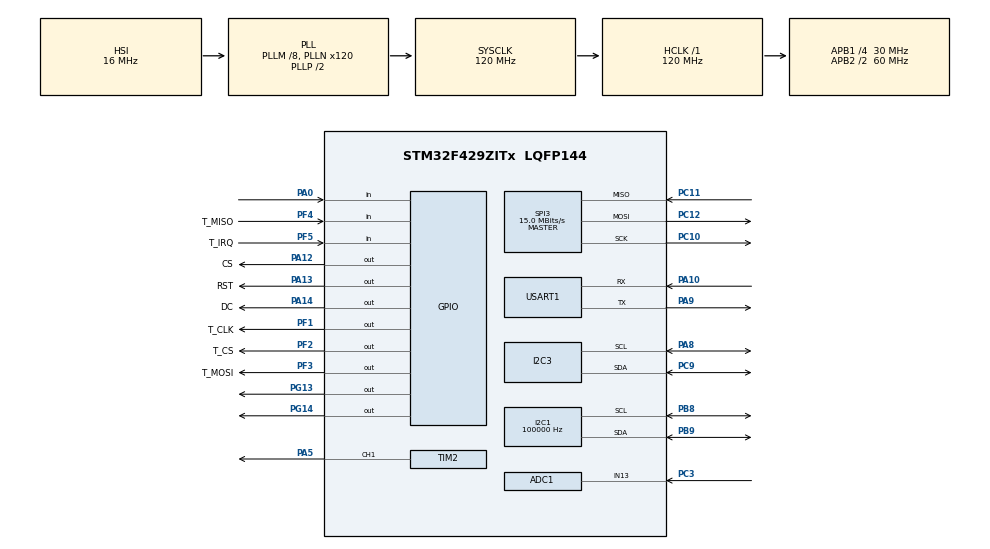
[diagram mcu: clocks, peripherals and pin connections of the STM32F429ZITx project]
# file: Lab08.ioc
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ADC1.Channel-0\#ChannelRegularConversion=ADC_CHANNEL_13
ADC1.ContinuousConvMode=ENABLE
ADC1.EOCSelection=ADC_EOC_SEQ_CONV
ADC1.NbrOfConversionFlag=1
ADC1.Rank-0\#ChannelRegularConversion=1
ADC1.SamplingTime-0\#ChannelRegularConversion=ADC_SAMPLETIME_3CYCLES
ADC1.master=1
I2C1.ClockSpeed=100000
Mcu.Family=STM32F4
Mcu.Name=STM32F429ZITx
Mcu.Package=LQFP144
NVIC.PriorityGroup=NVIC_PRIORITYGROUP_4
PA0/WKUP.Signal=GPIO_Input
PA10.Mode=Asynchronous
PA10.Signal=USART1_RX
PA12.GPIO_Label=CS
PA12.GPIO_Speed=GPIO_SPEED_FREQ_VERY_HIGH
PA12.Signal=GPIO_Output
PA13.GPIO_Label=RST
PA13.GPIO_Speed=GPIO_SPEED_FREQ_VERY_HIGH
PA13.Signal=GPIO_Output
PA14.GPIO_Label=DC
PA14.GPIO_Speed=GPIO_SPEED_FREQ_VERY_HIGH
PA14.Signal=GPIO_Output
PA5.Signal=S_TIM2_CH1_ETR
PA8.Mode=I2C
PA8.Signal=I2C3_SCL
PA9.Mode=Asynchronous
PA9.Signal=USART1_TX
PB8.Mode=I2C
PB8.Signal=I2C1_SCL
PB9.Mode=I2C
PB9.Signal=I2C1_SDA
PC10.Mode=Full_Duplex_Master
PC10.Signal=SPI3_SCK
PC11.Mode=Full_Duplex_Master
PC11.Signal=SPI3_MISO
PC12.Mode=Full_Duplex_Master
PC12.Signal=SPI3_MOSI
PC3.Signal=ADCx_IN13
PC9.Mode=I2C
PC9.Signal=I2C3_SDA
PF1.GPIO_Label=T_CLK
PF1.GPIO_Speed=GPIO_SPEED_FREQ_VERY_HIGH
PF1.Signal=GPIO_Output
PF2.GPIO_Label=T_CS
PF2.GPIO_Speed=GPIO_SPEED_FREQ_VERY_HIGH
PF2.Signal=GPIO_Output
PF3.GPIO_Label=T_MOSI
PF3.GPIO_Speed=GPIO_SPEED_FREQ_VERY_HIGH
PF3.Signal=GPIO_Output
PF4.GPIO_Label=T_MISO
PF4.Signal=GPIO_Input
PF5.GPIO_Label=T_IRQ
PF5.Signal=GPIO_Input
PG13.Signal=GPIO_Output
PG14.Signal=GPIO_Output
ProjectManager.HeapSize=0x200
ProjectManager.StackSize=0x400
ProjectManager.TargetToolchain=STM32CubeIDE
RCC.48MHZClocksFreq_Value=48000000
RCC.AHBFreq_Value=120000000
RCC.APB1CLKDivider=RCC_HCLK_DIV4
RCC.APB1Freq_Value=30000000
RCC.APB1TimFreq_Value=60000000
RCC.APB2CLKDivider=RCC_HCLK_DIV2
RCC.APB2Freq_Value=60000000
RCC.APB2TimFreq_Value=120000000
RCC.CortexFreq_Value=120000000
RCC.HCLKFreq_Value=120000000
RCC.HSE_VALUE=25000000
RCC.HSI_VALUE=16000000
RCC.LSE_VALUE=32768
RCC.PLLM=8
RCC.PLLN=120
RCC.PLLQ=5
RCC.SYSCLKFreq_VALUE=120000000
RCC.SYSCLKSource=RCC_SYSCLKSOURCE_PLLCLK
RCC.VCOOutputFreq_Value=240000000
SH.ADCx_IN13.0=ADC1_IN13,IN13
SH.S_TIM2_CH1_ETR.0=TIM2_CH1,PWM Generation1 CH1
SPI3.CalculateBaudRate=15.0 MBits/s
SPI3.Direction=SPI_DIRECTION_2LINES
SPI3.Mode=SPI_MODE_MASTER
SPI3.VirtualType=VM_MASTER
TIM1.ClockDivision=TIM_CLOCKDIVISION_DIV2
TIM1.Period=12-1
TIM1.Prescaler=10000-1
TIM2.Channel-PWM\ Generation1\ CH1=TIM_CHANNEL_1
TIM2.Period=100-1
TIM2.Prescaler=60-1
TIM2.Pulse-PWM\ Generation1\ CH1=(10000-1)*0.25
USART1.VirtualMode=VM_ASYNC
VP_RNG_VS_RNG.Mode=RNG_Activate
VP_TIM1_VS_ClockSourceINT.Mode=Internal
board=custom

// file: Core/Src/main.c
/* USER CODE BEGIN Header */
/**
  ******************************************************************************
  * @file           : main.c
  * @brief          : Main program body
  ******************************************************************************
  * @attention
  *
  * <h2><center>&copy; Copyright (c) 2021 STMicroelectronics.
  * All rights reserved.</center></h2>
  *
  * This software component is licensed by ST under BSD 3-Clause license,
  * the "License"; You may not use this file except in compliance with the
  * License. You may obtain a copy of the License at:
  *                        opensource.org/licenses/BSD-3-Clause
  *
  ******************************************************************************
  */
/* USER CODE END Header */
#include "main.h"
#include "adc.h"
#include "i2c.h"
#include "rng.h"
#include "spi.h"
#include "tim.h"
#include "usart.h"
#include "gpio.h"

/* USER CODE BEGIN Includes */
#include "stdio.h"
#include "ILI9341_Touchscreen.h"

#include "ILI9341_STM32_Driver.h"
#include "ILI9341_GFX.h"

#include "snow_tiger.h"
#include "pop.h"
#include "string.h"

#include "am2320.h"

/* USER CODE END Includes */

void SystemClock_Config(void);

/* USER CODE BEGIN 0 */
	uint32_t color = 0x0000;
	uint32_t redValue = 0x0000;
	uint32_t greenValue = 0x0000;
	uint32_t blueValue = 0x0000;

	float redRatio = 0.0;
	float greenRatio = 0.0;
	float blueRatio = 0.0;

	float humid = 30.0, temp=40.0;
	uint8_t step = 0;
	HAL_StatusTypeDef status;

	uint16_t CRC16_2(uint8_t *, uint8_t );

	uint16_t CRC16_2(uint8_t *ptr, uint8_t length){

		uint16_t crc = 0xFFFF;
		uint8_t s = 0x00;

		while(length--){
			crc ^= *ptr++;
			for(s = 0; s< 8; s++){
				if((crc & 0x01) != 0){
					crc >>=1 ;
					crc ^= 0xA001;
				}else crc >>=1;
			}
		}
		return crc;
	}

	I2C_HandleTypeDef hi2c1;
	I2C_HandleTypeDef hi2c3;

	//ADC

	volatile uint32_t adc_val = 0;

	void displayHEX(uint32_t value){

		char hexString[100];

		sprintf(hexString,"ADC1_CH13 0x%08X Vin = %.2f V RawValue = %d\r\n", value, (float)value*3.3/4096.0, value);
		HAL_UART_Transmit(&huart1, (uint8_t*) hexString, strlen(hexString), 100);
		HAL_Delay(50);
	}

/* USER CODE END 0 */

int main(void)
{

  /* MCU Configuration--------------------------------------------------------*/

  /* Reset of all peripherals, Initializes the Flash interface and the Systick. */
  HAL_Init();

  /* USER CODE BEGIN Init */
  Am2320_HandleTypeDef Am2320_;
  Am2320_ = am2320_Init(&hi2c3, AM2320_ADDRESS);

  /* USER CODE END Init */

  /* Configure the system clock */
  SystemClock_Config();

  /* Initialize all configured peripherals */
  MX_TIM1_Init();
  MX_GPIO_Init();
  MX_RNG_Init();
  MX_SPI3_Init();
  MX_USART1_UART_Init();
  MX_I2C1_Init();
  MX_ADC1_Init();
  MX_TIM2_Init();
  MX_I2C3_Init();
  /* USER CODE BEGIN 2 */

  ILI9341_Init();//initial driver setup to drive ili9341

  uint8_t mode = 1;

  uint32_t now = 0;
  uint32_t prenow = 0;
  uint32_t sec = 0;

  float dutyCycleScreen = 0.0;

  char str[50];
  uint32_t cmdBuffer[3];
  uint32_t dataBuffer[8];

  float temperature =30.0, humidity =50.0;

  HAL_ADC_Start(&hadc1);

  void TemperatureAndHumid(){
	am2320_GetTemperatureAndHumidity(&Am2320_, &temperature, &humidity);
	sprintf(str, "=====================================\r\n");
	HAL_UART_Transmit(&huart1, (uint8_t*) str, strlen(str), 200);
	sprintf(str, "Temperature: %.1fºC\r\n",temperature);
	HAL_UART_Transmit(&huart1, (uint8_t*) str, strlen(str), 200);
	sprintf(str, "Humidity: %.1f%%\r\n",humidity);
	HAL_UART_Transmit(&huart1, (uint8_t*) str, strlen(str), 200);

  }

  void ADC_PWM_Temperature (){

  		//ADC
  		  while(HAL_ADC_PollForConversion(&hadc1, 100) != HAL_OK){}
  		  adc_val = HAL_ADC_GetValue(&hadc1);
  		  //displayHEX(adc_val);

	    //PWM
  		  dutyCycleScreen = ((adc_val/4095.0) * 0.8) + 0.2;
  		  //No. 2
  		  htim2.Instance -> CCR1 = (100-1) * dutyCycleScreen;

  //		char hexString[100];
  //		sprintf(hexString,"%.2f\r\n", dutyCycleScreen);
  //		HAL_UART_Transmit(&huart1, (uint8_t*) hexString, strlen(hexString), 100);

  		  HAL_TIM_PWM_Start(&htim2, TIM_CHANNEL_1);

  	  //Temp & Humid

  		TemperatureAndHumid();

//  		cmdBuffer[0] = 0x03;
//  		cmdBuffer[1] = 0x00;
//  		cmdBuffer[2] = 0x04;

  //		sprintf(str, "Temperature = %4.1f\tHumidity = %4.1f\n\r", temp, humid);
  //		HAL_UART_Transmit(&huart1, (uint8_t*) str, strlen(str), 200);
  //
  //		//HAL_Delay(5000);
  //		HAL_GPIO_TogglePin(GPIOG, GPIO_PIN_13);
  //
  //		//Wake up sensor
  //		HAL_I2C_Master_Transmit(&hi2c3, 0x5c<<1, cmdBuffer, 3, 200);
  //		//Send reading command
  //		HAL_I2C_Master_Transmit(&hi2c3, 0x5c<<1, cmdBuffer, 3, 200);
  //
  //		//HAL_Delay(1);
  //
  //		//Receive Sensor data
  //		HAL_I2C_Master_Receive(&hi2c3, 0x5c<<1, dataBuffer, 8, 200);
  //
  //		uint32_t Rcrc = dataBuffer[7] << 8;
  //		Rcrc += dataBuffer[6];
  //		if (Rcrc == CRC16_2(dataBuffer, 6)){
  //			uint32_t temperature = ((dataBuffer[4] & 0x7F << 8 )+ dataBuffer[5]);
  //			temp = temperature /10.0;
  //			temp = (((dataBuffer[4] & 0x80) >> 7) == 1) ? (temp * (-1)) : temp; // the temp is negative
  //
  //			uint32_t humidity = (dataBuffer[2] << 8 ) + dataBuffer[3];
  //			humid = humidity / 10.0;
  //		}
  //
  //		sprintf(str, "Temperature2 = %.1f\tHumidity = %.1f\n\r", temp, humid);
  //		HAL_UART_Transmit(&huart1, (uint8_t*) str, strlen(str), 200);
  //
  //		for (int i =0 ; i< 8; i++){
  //			sprintf(str, "TEST%d %.1f %d %d\n\r",i , dataBuffer[i], Rcrc, CRC16_2(dataBuffer, 6));
  //			HAL_UART_Transmit(&huart1, (uint8_t*) str, strlen(str), 200);
  //		}

  	}

  /* USER CODE END 2 */

  /* Infinite loop */
  while (1)
  {

    /* USER CODE BEGIN 3 */

	 		//Mode 1

	 		if(mode == 1){

				ILI9341_Fill_Screen(WHITE);
				ILI9341_Set_Rotation(SCREEN_HORIZONTAL_1);

				static uint16_t x = 60;
				static uint16_t y = 90;
				static uint16_t radius = 20;
				static uint16_t ySpace = 60;
				//static uint16_t maxHeight = 240;
				static uint16_t maxWidth = 320;

				uint16_t xRectangle = x+radius+10;
				uint16_t rectangleWidth = 115;
				uint16_t xValue = xRectangle + rectangleWidth+5;
				uint16_t y1 =  y;
				uint16_t y2 = y+ySpace;
				uint16_t y3 = y+ySpace*2;
				uint16_t ySpaceData = radius/2;
				uint16_t y1data =  y-ySpaceData;
				uint16_t y2data = y+ySpace-ySpaceData;
				uint16_t y3data = y+ySpace*2-ySpaceData;

				uint16_t size = 2;

				ILI9341_Set_Rotation(SCREEN_HORIZONTAL_1);

	//			char hexString[30];
	//			sprintf(hexString,"%d %d %d %d\r\n", redValue, greenValue, blueValue);
	//			HAL_UART_Transmit(&huart1, (uint8_t*) hexString, strlen(hexString), 1000);

//				char tempHumidChar[50];
//				sprintf(tempHumidChar,"%.1fC ", temperature);
//				ILI9341_Draw_Text(tempHumidChar, x-10, y/2-ySpaceData, BLACK, size, WHITE);
//				sprintf(tempHumidChar,"%.1%%RH", humidity);
//				ILI9341_Draw_Text(tempHumidChar, maxWidth/2+10, y/2-ySpaceData, BLACK, size, WHITE);

				ILI9341_Draw_Filled_Circle(x, y1, radius, RED);
				ILI9341_Draw_Filled_Circle(x, y2, radius, GREEN);
				ILI9341_Draw_Filled_Circle(x, y3, radius, BLUE);

				//Initiate
				//Background
				ILI9341_Draw_Rectangle(xRectangle, y1data, rectangleWidth, radius, (((RED>>11)/2)<<11)& RED);
				ILI9341_Draw_Rectangle(xRectangle, y2data, rectangleWidth, radius, (((GREEN>>5)/2)<<5)& GREEN);
				ILI9341_Draw_Rectangle(xRectangle, y3data, rectangleWidth, radius, (BLUE/2)& BLUE);

				color = redValue + greenValue + blueValue;
				ILI9341_Draw_Filled_Circle(maxWidth/2-20, y/2, radius*1, color);

				ILI9341_Draw_Rectangle(xRectangle, y1data, rectangleWidth*redRatio, radius, RED);
				ILI9341_Draw_Rectangle(xRectangle, y2data, rectangleWidth*greenRatio, radius, GREEN);
				ILI9341_Draw_Rectangle(xRectangle, y3data, rectangleWidth*blueRatio, radius, BLUE);

				//Color Percentage
				char percentage[30];
				sprintf(percentage,"%d%%   ", (int)(redRatio*100));
				ILI9341_Draw_Text(percentage, xValue, y1data, BLACK, size, WHITE);
				sprintf(percentage,"%d%%   ", (int)(greenRatio*100));
				ILI9341_Draw_Text(percentage, xValue, y2data, BLACK, size, WHITE);
				sprintf(percentage,"%d%%   ", (int)(blueRatio*100));
				ILI9341_Draw_Text(percentage, xValue, y3data, BLACK, size, WHITE);

				while(1){

					ADC_PWM_Temperature();

					ILI9341_Set_Rotation(SCREEN_VERTICAL_1);
					if(TP_Touchpad_Pressed())
					{

						uint16_t x_pos = 0;
						uint16_t y_pos = 0;

						//HAL_GPIO_WritePin(GPIOG, GPIO_PIN_13|GPIO_PIN_14, GPIO_PIN_SET);

						uint16_t position_array[2];

						if(TP_Read_Coordinates(position_array) == TOUCHPAD_DATA_OK)
						{
							x_pos = position_array[0];
							y_pos = position_array[1];
							//ILI9341_Draw_Filled_Circle(x_pos, y_pos, 2, BLACK);

							if(x_pos > 150-radius && x_pos < 150+radius && y_pos > 60-radius && y_pos < 60+radius){
								redValue +=(((RED>>11)/10)<<11)& RED;
								redRatio += 0.1;

							}else if(x_pos > 90-radius && x_pos < 90+radius && y_pos > 60-radius && y_pos < 60+radius){
								greenValue += (((GREEN>>5)/10)<<5)& GREEN;
								greenRatio += 0.1;

							}else if(x_pos > 30-radius && x_pos < 30+radius && y_pos > 60-radius && y_pos < 60+radius){
								blueValue += (BLUE/10)& BLUE;
								blueRatio += 0.1;

							}else if(x_pos > 188-radius && x_pos < 188+radius && y_pos > 138-radius && y_pos < 138+radius){
								mode = 2;
								break;
							}

							ILI9341_Set_Rotation(SCREEN_HORIZONTAL_1);
							if(redValue >  RED){
								redValue = 0;
								redRatio = 0;

								ILI9341_Draw_Rectangle(xRectangle, y1data, rectangleWidth, radius, (((RED>>11)/2)<<11)& RED);
							}
							if(greenValue > GREEN){
								greenValue = 0;
								greenRatio = 0;
								ILI9341_Draw_Rectangle(xRectangle, y2data, rectangleWidth, radius, (((GREEN>>5)/2)<<5)& GREEN);
							}
							if(blueValue > BLUE){
								blueValue = 0;
								blueRatio = 0;
								ILI9341_Draw_Rectangle(xRectangle, y3data, rectangleWidth, radius, (BLUE/2)& BLUE);
							}

	//					ILI9341_Set_Rotation(SCREEN_HORIZONTAL_1);
	//					char counter_buff[30];
	//					sprintf(counter_buff, "POS X: %.3d", x_pos);
	//					ILI9341_Draw_Text(counter_buff, 10, 80, BLACK, 2, WHITE);
	//					sprintf(counter_buff, "POS Y: %.3d", y_pos);
	//					ILI9341_Draw_Text(counter_buff, 10, 120, BLACK, 2, WHITE);
						//ILI9341_Set_Rotation(SCREEN_VERTICAL_1);

							//All Update when pressed

							color = redValue + greenValue + blueValue;
							ILI9341_Draw_Filled_Circle(maxWidth/2-20, y/2, radius*1, color);

							ILI9341_Draw_Rectangle(xRectangle, y1data, rectangleWidth*redRatio, radius, RED);
							ILI9341_Draw_Rectangle(xRectangle, y2data, rectangleWidth*greenRatio, radius, GREEN);
							ILI9341_Draw_Rectangle(xRectangle, y3data, rectangleWidth*blueRatio, radius, BLUE);

							//Color Percentage
							char percentage[30];
							sprintf(percentage,"%d%%   ", (int)(redRatio*100));
							ILI9341_Draw_Text(percentage, xValue, y1data, BLACK, size, WHITE);
							sprintf(percentage,"%d%%   ", (int)(greenRatio*100));
							ILI9341_Draw_Text(percentage, xValue, y2data, BLACK, size, WHITE);
							sprintf(percentage,"%d%%   ", (int)(blueRatio*100));
							ILI9341_Draw_Text(percentage, xValue, y3data, BLACK, size, WHITE);

						}
					}

					ILI9341_Set_Rotation(SCREEN_HORIZONTAL_1);
					//All Update when not pressed
					char tempChar[50];
					sprintf(tempChar,"%.1fC", temperature);
					ILI9341_Draw_Text(tempChar, x-10, y/2-ySpaceData, BLACK, size, WHITE);
					char humidChar[50];
					sprintf(humidChar,"%.1f%%RH", humidity);
					ILI9341_Draw_Text(humidChar, maxWidth/2+10, y/2-ySpaceData, BLACK, size, WHITE);
				}

	 		}else if(mode ==2){

				ILI9341_Fill_Screen(WHITE);
				ILI9341_Set_Rotation(SCREEN_HORIZONTAL_1);

				static uint16_t ySpace = 30;
				static uint16_t y = 60;
				static uint16_t maxWidth = 320;
				uint16_t x1 = maxWidth/2-50;
				uint16_t size = 2;

				ILI9341_Draw_Image((const char*)pop, SCREEN_VERTICAL_2);

				ILI9341_Set_Rotation(SCREEN_HORIZONTAL_1);

				char text[30];
				sprintf(text,"Group A2");
				ILI9341_Draw_Text(text, x1, y, color, size, WHITE);
				sprintf(text,"Sirawit");
				ILI9341_Draw_Text(text, x1, y+ySpace, color, size, WHITE);
				sprintf(text,"Sukwattanavit");
				ILI9341_Draw_Text(text, x1, y+ySpace*2, color, size, WHITE);
				sprintf(text,"62010948");
				ILI9341_Draw_Text(text, x1, y+ySpace*3, color, size, WHITE);

				while(1){

					ADC_PWM_Temperature();

					ILI9341_Set_Rotation(SCREEN_VERTICAL_1);
					if(TP_Touchpad_Pressed())
					{

						uint16_t x_pos = 0;
						uint16_t y_pos = 0;

						//HAL_GPIO_WritePin(GPIOG, GPIO_PIN_13|GPIO_PIN_14, GPIO_PIN_SET);

						uint16_t position_array[2];

						if(TP_Read_Coordinates(position_array) == TOUCHPAD_DATA_OK)
						{
							x_pos = position_array[0];
							y_pos = position_array[1];
							//ILI9341_Draw_Filled_Circle(x_pos, y_pos, 2, BLACK);

							if(x_pos > 0 && x_pos < 240 && y_pos > 0  && y_pos < maxWidth/2-50){
								mode = 1;
								break;
							}
	//						ILI9341_Set_Rotation(SCREEN_HORIZONTAL_1);
	//						char counter_buff[30];
	//						sprintf(counter_buff, "POS X: %.3d", x_pos);
	//						ILI9341_Draw_Text(counter_buff, 10, 80, BLACK, 2, WHITE);
	//						sprintf(counter_buff, "POS Y: %.3d", y_pos);
	//						ILI9341_Draw_Text(counter_buff, 10, 120, BLACK, 2, WHITE);
						}
					}

			  	  	now = HAL_GetTick();
			  	  	if (now - prenow >= 1000){
						sec++;
						prenow = now;
			  	  	}

			  	  	if(sec == 5){
			  	  		sec = 0;
			  	  		mode = 1;
			  	  		break;
			  	  	}

				}
	 		}

	  //----------------------------------------------------------PERFORMANCE TEST
//	  		ILI9341_Fill_Screen(WHITE);
//	  		ILI9341_Set_Rotation(SCREEN_HORIZONTAL_1);
//	  		ILI9341_Draw_Text("FPS TEST, 40 loop 2 screens", 10, 10, BLACK, 1, WHITE);
//	  		HAL_Delay(2000);
//	  		ILI9341_Fill_Screen(WHITE);
//
//	  		uint32_t Timer_Counter = 0;
//	  		for(uint32_t j = 0; j < 2; j++)
//	  		{
//	  			HAL_TIM_Base_Start(&htim1);
//	  			for(uint16_t i = 0; i < 10; i++)
//	  			{
//	  				ILI9341_Fill_Screen(WHITE);
//	  				ILI9341_Fill_Screen(BLACK);
//	  			}
//
//	  			//20.000 per second!
//	  			HAL_TIM_Base_Stop(&htim1);
//	  			Timer_Counter += __HAL_TIM_GET_COUNTER(&htim1);
//	  			__HAL_TIM_SET_COUNTER(&htim1, 0);
//	  		}
//	  		Timer_Counter /= 2;
//
//	  		char counter_buff[30];
//	  		ILI9341_Fill_Screen(WHITE);
//	  		ILI9341_Set_Rotation(SCREEN_HORIZONTAL_1);
//	  		sprintf(counter_buff, "Timer counter value: %ld", Timer_Counter*2);
//	  		ILI9341_Draw_Text(counter_buff, 10, 10, BLACK, 1, WHITE);
//
//	  		double seconds_passed = 2*((float)Timer_Counter / 20000);
//	  		sprintf(counter_buff, "Time: %.3f Sec", seconds_passed);
//	  		ILI9341_Draw_Text(counter_buff, 10, 30, BLACK, 2, WHITE);
//
//	  		double timer_float = 20/(((float)Timer_Counter)/20000);	//Frames per sec
//
//	  		sprintf(counter_buff, "FPS:  %.2f", timer_float);
//	  		ILI9341_Draw_Text(counter_buff, 10, 50, BLACK, 2, WHITE);
//	  		double MB_PS = timer_float*240*320*2/1000000;
//	  		sprintf(counter_buff, "MB/S: %.2f", MB_PS);
//	  		ILI9341_Draw_Text(counter_buff, 10, 70, BLACK, 2, WHITE);
//	  		double SPI_utilized_percentage = (MB_PS/(6.25 ))*100;		//50mbits / 8 bits
//	  		sprintf(counter_buff, "SPI Utilized: %.2f", SPI_utilized_percentage);
//	  		ILI9341_Draw_Text(counter_buff, 10, 90, BLACK, 2, WHITE);
//	  		HAL_Delay(10000);

//	  		static uint16_t x = 0;
//	  		static uint16_t y = 0;

//	  		char Temp_Buffer_text[40];

	  //----------------------------------------------------------COUNTING MULTIPLE SEGMENTS
//	  		ILI9341_Fill_Screen(WHITE);
//	  		ILI9341_Set_Rotation(SCREEN_HORIZONTAL_1);
//	  		ILI9341_Draw_Text("Counting multiple segments at once", 10, 10, BLACK, 1, WHITE);
//	  		HAL_Delay(2000);
//	  		ILI9341_Fill_Screen(WHITE);
//
//
//	  		for(uint16_t i = 0; i <= 10; i++)
//	  		{
//	  		sprintf(Temp_Buffer_text, "Counting: %d", i);
//	  		ILI9341_Draw_Text(Temp_Buffer_text, 10, 10, BLACK, 2, WHITE);
//	  		ILI9341_Draw_Text(Temp_Buffer_text, 10, 30, BLUE, 2, WHITE);
//	  		ILI9341_Draw_Text(Temp_Buffer_text, 10, 50, RED, 2, WHITE);
//	  		ILI9341_Draw_Text(Temp_Buffer_text, 10, 70, GREEN, 2, WHITE);
//	  		ILI9341_Draw_Text(Temp_Buffer_text, 10, 90, BLACK, 2, WHITE);
//	  		ILI9341_Draw_Text(Temp_Buffer_text, 10, 110, BLUE, 2, WHITE);
//	  		ILI9341_Draw_Text(Temp_Buffer_text, 10, 130, RED, 2, WHITE);
//	  		ILI9341_Draw_Text(Temp_Buffer_text, 10, 150, GREEN, 2, WHITE);
//	  		ILI9341_Draw_Text(Temp_Buffer_text, 10, 170, WHITE, 2, BLACK);
//	  		ILI9341_Draw_Text(Temp_Buffer_text, 10, 190, BLUE, 2, BLACK);
//	  		ILI9341_Draw_Text(Temp_Buffer_text, 10, 210, RED, 2, BLACK);
//	  		}
//
//	  		HAL_Delay(1000);

	  //----------------------------------------------------------COUNTING SINGLE SEGMENT
//	  		ILI9341_Fill_Screen(WHITE);
//	  		ILI9341_Set_Rotation(SCREEN_HORIZONTAL_1);
//	  		ILI9341_Draw_Text("Counting single segment", 10, 10, BLACK, 1, WHITE);
//	  		HAL_Delay(2000);
//	  		ILI9341_Fill_Screen(WHITE);
//
//	  		for(uint16_t i = 0; i <= 100; i++)
//	  		{
//	  		sprintf(Temp_Buffer_text, "Counting: %d", i);
//	  		ILI9341_Draw_Text(Temp_Buffer_text, 10, 10, BLACK, 3, WHITE);
//	  		}
//
//	  		HAL_Delay(1000);

	  //----------------------------------------------------------ALIGNMENT TEST
//	  		ILI9341_Fill_Screen(WHITE);
//	  		ILI9341_Set_Rotation(SCREEN_HORIZONTAL_1);
//	  		ILI9341_Draw_Text("Rectangle alignment check", 10, 10, BLACK, 1, WHITE);
//	  		HAL_Delay(2000);
//	  		ILI9341_Fill_Screen(WHITE);
//
//	  		ILI9341_Draw_Hollow_Rectangle_Coord(50, 50, 100, 100, BLACK);
//	  		ILI9341_Draw_Filled_Rectangle_Coord(20, 20, 50, 50, BLACK);
//	  		ILI9341_Draw_Hollow_Rectangle_Coord(10, 10, 19, 19, BLACK);
//	  		HAL_Delay(1000);

	  //----------------------------------------------------------LINES EXAMPLE

	  		//Line and Horizontal and Vertical

//	  		ILI9341_Fill_Screen(WHITE);
//	  		ILI9341_Set_Rotation(SCREEN_HORIZONTAL_1);
//	  		ILI9341_Draw_Text("Randomly placed and sized", 10, 10, BLACK, 1, WHITE);
//	  		ILI9341_Draw_Text("Horizontal and Vertical lines", 10, 20, BLACK, 1, WHITE);
//	  		HAL_Delay(2000);
//	  		ILI9341_Fill_Screen(WHITE);
//
//	  		for(uint32_t i = 0; i < 30000; i++)
//	  		{
//	  			uint32_t random_num = 0;
//	  			uint16_t xr = 0;
//	  			uint16_t yr = 0;
//	  			uint16_t radiusr = 0;
//	  			uint16_t colourr = 0;
//	  			random_num = HAL_RNG_GetRandomNumber(&hrng);
//	  			xr = random_num;
//	  			random_num = HAL_RNG_GetRandomNumber(&hrng);
//	  			yr = random_num;
//	  			random_num = HAL_RNG_GetRandomNumber(&hrng);
//	  			radiusr = random_num;
//	  			random_num = HAL_RNG_GetRandomNumber(&hrng);
//	  			colourr = random_num;
//
//	  			xr &= 0x01FF;
//	  			yr &= 0x01FF;
//	  			radiusr &= 0x001F;
//	  			//ili9341_drawpixel(xr, yr, WHITE);
//	  			ILI9341_Draw_Horizontal_Line(xr, yr, radiusr, colourr);
//	  			ILI9341_Draw_Vertical_Line(xr, yr, radiusr, colourr);
//	  		}
//
//	  		HAL_Delay(1000);

	  //----------------------------------------------------------HOLLOW CIRCLES EXAMPLE
//	  		ILI9341_Fill_Screen(WHITE);
//	  		ILI9341_Set_Rotation(SCREEN_HORIZONTAL_1);
//	  		ILI9341_Draw_Text("Randomly placed and sized", 10, 10, BLACK, 1, WHITE);
//	  		ILI9341_Draw_Text("Circles", 10, 20, BLACK, 1, WHITE);
//	  		HAL_Delay(2000);
//	  		ILI9341_Fill_Screen(WHITE);
//
//
//	  		for(uint32_t i = 0; i < 3000; i++)
//	  		{
//	  			uint32_t random_num = 0;
//	  			uint16_t xr = 0;
//	  			uint16_t yr = 0;
//	  			uint16_t radiusr = 0;
//	  			uint16_t colourr = 0;
//	  			random_num = HAL_RNG_GetRandomNumber(&hrng);
//	  			xr = random_num;
//	  			random_num = HAL_RNG_GetRandomNumber(&hrng);
//	  			yr = random_num;
//	  			random_num = HAL_RNG_GetRandomNumber(&hrng);
//	  			radiusr = random_num;
//	  			random_num = HAL_RNG_GetRandomNumber(&hrng);
//	  			colourr = random_num;
//
//	  			xr &= 0x01FF;
//	  			yr &= 0x01FF;
//	  			radiusr &= 0x001F;
//	  			//ili9341_drawpixel(xr, yr, WHITE);
//	  			ILI9341_Draw_Hollow_Circle(xr, yr, radiusr*2, colourr);
//	  		}
//	  		HAL_Delay(1000);

	  //----------------------------------------------------------FILLED CIRCLES EXAMPLE
//	  		ILI9341_Fill_Screen(WHITE);
//	  		ILI9341_Set_Rotation(SCREEN_HORIZONTAL_1);
//	  		ILI9341_Draw_Text("Randomly placed and sized", 10, 10, BLACK, 1, WHITE);
//	  		ILI9341_Draw_Text("Filled Circles", 10, 20, BLACK, 1, WHITE);
//	  		HAL_Delay(2000);
//	  		ILI9341_Fill_Screen(WHITE);
//
//	  		for(uint32_t i = 0; i < 1000; i++)
//	  		{
//	  			uint32_t random_num = 0;
//	  			uint16_t xr = 0;
//	  			uint16_t yr = 0;
//	  			uint16_t radiusr = 0;
//	  			uint16_t colourr = 0;
//	  			random_num = HAL_RNG_GetRandomNumber(&hrng);
//	  			xr = random_num;
//	  			random_num = HAL_RNG_GetRandomNumber(&hrng);
//	  			yr = random_num;
//	  			random_num = HAL_RNG_GetRandomNumber(&hrng);
//	  			radiusr = random_num;
//	  			random_num = HAL_RNG_GetRandomNumber(&hrng);
//	  			colourr = random_num;
//
//	  			xr &= 0x01FF;
//	  			yr &= 0x01FF;
//	  			radiusr &= 0x001F;
//	  			//ili9341_drawpixel(xr, yr, WHITE);
//	  			ILI9341_Draw_Filled_Circle(xr, yr, radiusr/2, colourr);
//	  		}
//	  		HAL_Delay(1000);

	  //----------------------------------------------------------HOLLOW RECTANGLES EXAMPLE
//	  		ILI9341_Fill_Screen(WHITE);
//	  		ILI9341_Set_Rotation(SCREEN_HORIZONTAL_1);
//	  		ILI9341_Draw_Text("Randomly placed and sized", 10, 10, BLACK, 1, WHITE);
//	  		ILI9341_Draw_Text("Rectangles", 10, 20, BLACK, 1, WHITE);
//	  		HAL_Delay(2000);
//	  		ILI9341_Fill_Screen(WHITE);
//
//	  		for(uint32_t i = 0; i < 20000; i++)
//	  		{
//	  			uint32_t random_num = 0;
//	  			uint16_t xr = 0;
//	  			uint16_t yr = 0;
//	  			uint16_t radiusr = 0;
//	  			uint16_t colourr = 0;
//	  			random_num = HAL_RNG_GetRandomNumber(&hrng);
//	  			xr = random_num;
//	  			random_num = HAL_RNG_GetRandomNumber(&hrng);
//	  			yr = random_num;
//	  			random_num = HAL_RNG_GetRandomNumber(&hrng);
//	  			radiusr = random_num;
//	  			random_num = HAL_RNG_GetRandomNumber(&hrng);
//	  			colourr = random_num;
//
//	  			xr &= 0x01FF;
//	  			yr &= 0x01FF;
//	  			radiusr &= 0x001F;
//	  			//ili9341_drawpixel(xr, yr, WHITE);
//	  			ILI9341_Draw_Hollow_Rectangle_Coord(xr, yr, xr+radiusr, yr+radiusr, colourr);
//	  		}
//	  		HAL_Delay(1000);

	  //----------------------------------------------------------FILLED RECTANGLES EXAMPLE
//	  		ILI9341_Fill_Screen(WHITE);
//	  		ILI9341_Set_Rotation(SCREEN_HORIZONTAL_1);
//	  		ILI9341_Draw_Text("Randomly placed and sized", 10, 10, BLACK, 1, WHITE);
//	  		ILI9341_Draw_Text("Filled Rectangles", 10, 20, BLACK, 1, WHITE);
//	  		HAL_Delay(2000);
//	  		ILI9341_Fill_Screen(WHITE);
//
//	  		for(uint32_t i = 0; i < 20000; i++)
//	  		{
//	  			uint32_t random_num = 0;
//	  			uint16_t xr = 0;
//	  			uint16_t yr = 0;
//	  			uint16_t radiusr = 0;
//	  			uint16_t colourr = 0;
//	  			random_num = HAL_RNG_GetRandomNumber(&hrng);
//	  			xr = random_num;
//	  			random_num = HAL_RNG_GetRandomNumber(&hrng);
//	  			yr = random_num;
//	  			random_num = HAL_RNG_GetRandomNumber(&hrng);
//	  			radiusr = random_num;
//	  			random_num = HAL_RNG_GetRandomNumber(&hrng);
//	  			colourr = random_num;
//
//	  			xr &= 0x01FF;
//	  			yr &= 0x01FF;
//	  			radiusr &= 0x001F;
//	  			//ili9341_drawpixel(xr, yr, WHITE);
//	  			ILI9341_Draw_Rectangle(xr, yr, radiusr, radiusr, colourr);
//	  		}
//	  		HAL_Delay(1000);

	  //----------------------------------------------------------INDIVIDUAL PIXEL EXAMPLE

	  		//Transition

//	  		ILI9341_Fill_Screen(WHITE);
//	  		ILI9341_Set_Rotation(SCREEN_HORIZONTAL_1);
//	  		ILI9341_Draw_Text("Slow draw by selecting", 10, 10, BLACK, 1, WHITE);
//	  		ILI9341_Draw_Text("and addressing pixels", 10, 20, BLACK, 1, WHITE);
//	  		HAL_Delay(2000);
//	  		ILI9341_Fill_Screen(WHITE);
//
//
//	  		x = 0;
//	  		y = 0;
//	  		while (y < 240)
//	  		{
//	  		while ((x < 320) && (y < 240))
//	  		{
//
//	  			if(x % 2)
//	  			{
//	  				ILI9341_Draw_Pixel(x, y, BLACK);
//	  			}
//
//	  			x++;
//	  		}
//
//	  			y++;
//	  			x = 0;
//	  		}
//
//	  		x = 0;
//	  		y = 0;
//
//
//	  		while (y < 240)
//	  		{
//	  		while ((x < 320) && (y < 240))
//	  		{
//
//	  			if(y % 2)
//	  			{
//	  				ILI9341_Draw_Pixel(x, y, BLACK);
//	  			}
//
//	  			x++;
//	  		}
//
//	  			y++;
//	  			x = 0;
//	  		}
//	  		HAL_Delay(2000);

	  //----------------------------------------------------------INDIVIDUAL PIXEL EXAMPLE
//	  		ILI9341_Fill_Screen(WHITE);
//	  		ILI9341_Set_Rotation(SCREEN_HORIZONTAL_1);
//	  		ILI9341_Draw_Text("Random position and colour", 10, 10, BLACK, 1, WHITE);
//	  		ILI9341_Draw_Text("500000 pixels", 10, 20, BLACK, 1, WHITE);
//	  		HAL_Delay(2000);
//	  		ILI9341_Fill_Screen(WHITE);
//
//
//	  		for(uint32_t i = 0; i < 500000; i++)
//	  		{
//	  			uint32_t random_num = 0;
//	  			uint16_t xr = 0;
//	  			uint16_t yr = 0;
//	  			random_num = HAL_RNG_GetRandomNumber(&hrng);
//	  			xr = random_num;
//	  			random_num = HAL_RNG_GetRandomNumber(&hrng);
//	  			yr = random_num;
//	  			uint16_t color = HAL_RNG_GetRandomNumber(&hrng);
//
//	  			xr &= 0x01FF;
//	  			yr &= 0x01FF;
//	  			ILI9341_Draw_Pixel(xr, yr, color);
//	  		}
//	  		HAL_Delay(2000);

	  //----------------------------------------------------------565 COLOUR EXAMPLE, Grayscale
//	  		ILI9341_Fill_Screen(WHITE);
//	  		ILI9341_Set_Rotation(SCREEN_HORIZONTAL_1);
//	  		ILI9341_Draw_Text("Colour gradient", 10, 10, BLACK, 1, WHITE);
//	  		ILI9341_Draw_Text("Grayscale", 10, 20, BLACK, 1, WHITE);
//	  		HAL_Delay(2000);
//
//
//	  		for(uint16_t i = 0; i <= (320); i++)
//	  		{
//	  			uint16_t Red = 0;
//	  			uint16_t Green = 0;
//	  			uint16_t Blue = 0;
//
//	  			Red = i/(10);
//	  			Red <<= 11;
//	  			Green = i/(5);
//	  			Green <<= 5;
//	  			Blue = i/(10);
//
//
//
//	  			uint16_t RGB_color = Red + Green + Blue;
//	  			ILI9341_Draw_Rectangle(i, x, 1, 240, RGB_color);
//
//	  		}
//	  		HAL_Delay(2000);

	  //----------------------------------------------------------IMAGE EXAMPLE, Snow Tiger
//	  		ILI9341_Fill_Screen(WHITE);
//	  		ILI9341_Set_Rotation(SCREEN_HORIZONTAL_1);
//	  		ILI9341_Draw_Text("RGB Picture", 10, 10, BLACK, 1, WHITE);
//	  		ILI9341_Draw_Text("TIGER", 10, 20, BLACK, 1, WHITE);
//	  		HAL_Delay(2000);
//	  		ILI9341_Draw_Image((const char*)snow_tiger, SCREEN_VERTICAL_2);
//	  		ILI9341_Set_Rotation(SCREEN_VERTICAL_1);
//	  		HAL_Delay(5000);

	  //----------------------------------------------------------TOUCHSCREEN EXAMPLE
//	  		ILI9341_Fill_Screen(WHITE);
//	  		ILI9341_Set_Rotation(SCREEN_HORIZONTAL_1);
//	  		ILI9341_Draw_Text("Touchscreen", 10, 10, BLACK, 2, WHITE);
//	  		ILI9341_Draw_Text("Touch to draw", 10, 30, BLACK, 2, WHITE);
//	  		ILI9341_Set_Rotation(SCREEN_VERTICAL_1);
//
//
//	  		while(1)
//	  		{
//	  			//HAL_Delay(50);
//
//	  			if(TP_Touchpad_Pressed())
//	          {
//
//	  					uint16_t x_pos = 0;
//	  					uint16_t y_pos = 0;
//
//
//	  					HAL_GPIO_WritePin(GPIOG, GPIO_PIN_13|GPIO_PIN_14, GPIO_PIN_SET);
//
//	  					uint16_t position_array[2];
//
//	  					if(TP_Read_Coordinates(position_array) == TOUCHPAD_DATA_OK)
//	  					{
//	  					x_pos = position_array[0];
//	  					y_pos = position_array[1];
//	  					ILI9341_Draw_Filled_Circle(x_pos, y_pos, 2, BLACK);
//
//	  					ILI9341_Set_Rotation(SCREEN_HORIZONTAL_1);
//	  					char counter_buff[30];
//	  					sprintf(counter_buff, "POS X: %.3d", x_pos);
//	  					ILI9341_Draw_Text(counter_buff, 10, 80, BLACK, 2, WHITE);
//	  					sprintf(counter_buff, "POS Y: %.3d", y_pos);
//	  					ILI9341_Draw_Text(counter_buff, 10, 120, BLACK, 2, WHITE);
//	  					ILI9341_Set_Rotation(SCREEN_VERTICAL_1);
//	  					}
//
//	  					ILI9341_Draw_Pixel(x_pos, y_pos, BLACK);
//
//	          }
//	  			else
//	  			{
//	  				HAL_GPIO_WritePin(GPIOG, GPIO_PIN_13|GPIO_PIN_14, GPIO_PIN_RESET);
//	  			}
//
//	  		}

  }
  /* USER CODE END 3 */
}

void SystemClock_Config(void)
{
  RCC_OscInitTypeDef RCC_OscInitStruct = {0};
  RCC_ClkInitTypeDef RCC_ClkInitStruct = {0};

  /** Configure the main internal regulator output voltage
  */
  __HAL_RCC_PWR_CLK_ENABLE();
  __HAL_PWR_VOLTAGESCALING_CONFIG(PWR_REGULATOR_VOLTAGE_SCALE3);
  /** Initializes the RCC Oscillators according to the specified parameters
  * in the RCC_OscInitTypeDef structure.
  */
  RCC_OscInitStruct.OscillatorType = RCC_OSCILLATORTYPE_HSI;
  RCC_OscInitStruct.HSIState = RCC_HSI_ON;
  RCC_OscInitStruct.HSICalibrationValue = RCC_HSICALIBRATION_DEFAULT;
  RCC_OscInitStruct.PLL.PLLState = RCC_PLL_ON;
  RCC_OscInitStruct.PLL.PLLSource = RCC_PLLSOURCE_HSI;
  RCC_OscInitStruct.PLL.PLLM = 8;
  RCC_OscInitStruct.PLL.PLLN = 120;
  RCC_OscInitStruct.PLL.PLLP = RCC_PLLP_DIV2;
  RCC_OscInitStruct.PLL.PLLQ = 5;
  if (HAL_RCC_OscConfig(&RCC_OscInitStruct) != HAL_OK)
  {
    Error_Handler();
  }
  /** Initializes the CPU, AHB and APB buses clocks
  */
  RCC_ClkInitStruct.ClockType = RCC_CLOCKTYPE_HCLK|RCC_CLOCKTYPE_SYSCLK
                              |RCC_CLOCKTYPE_PCLK1|RCC_CLOCKTYPE_PCLK2;
  RCC_ClkInitStruct.SYSCLKSource = RCC_SYSCLKSOURCE_PLLCLK;
  RCC_ClkInitStruct.AHBCLKDivider = RCC_SYSCLK_DIV1;
  RCC_ClkInitStruct.APB1CLKDivider = RCC_HCLK_DIV4;
  RCC_ClkInitStruct.APB2CLKDivider = RCC_HCLK_DIV2;

  if (HAL_RCC_ClockConfig(&RCC_ClkInitStruct, FLASH_LATENCY_3) != HAL_OK)
  {
    Error_Handler();
  }
}

void Error_Handler(void)
{
  __disable_irq();
  while (1)
  {
  }
}

/************************ (C) COPYRIGHT STMicroelectronics *****END OF FILE****/
